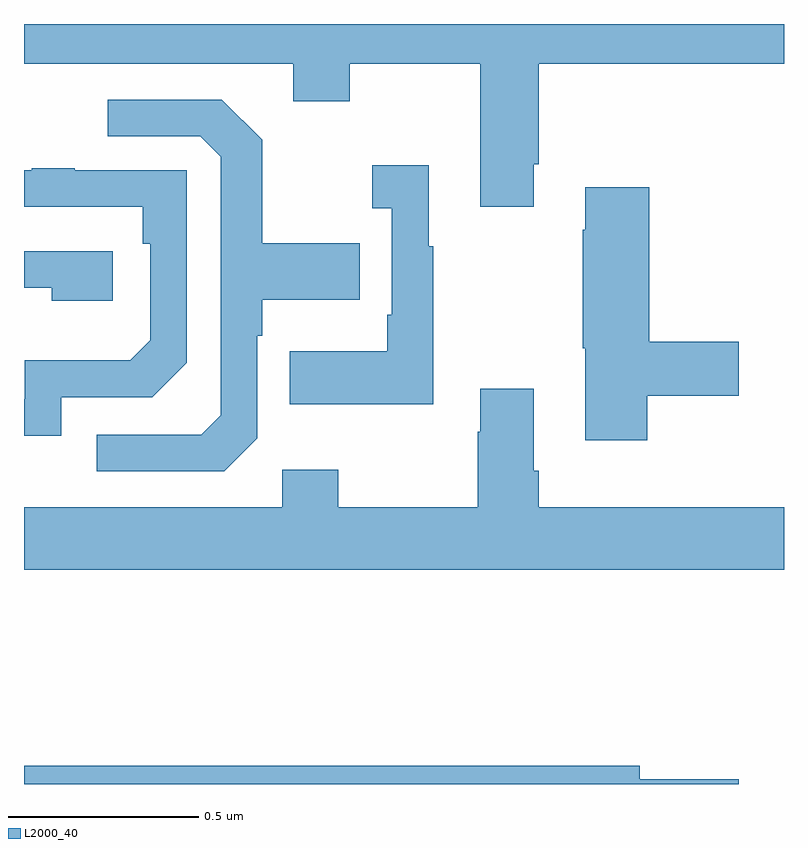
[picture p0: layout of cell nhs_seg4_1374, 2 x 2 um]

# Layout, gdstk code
import gdstk
lib = gdstk.Library(unit=1e-6, precision=1e-09)
def P(c, l, *ps):  # polygons
    for p in ps: c.add(gdstk.Polygon(p, *l))
L2000_40 = (2000, 40)

nhs_seg4_1374 = lib.new_cell('nhs_seg4_1374')
P(nhs_seg4_1374, L2000_40, [(128.341,820.531),(128.354,820.531),(128.354,820.796),(129,820.796),(129,820.9),(127,820.9),(127,820.796),(127.709,820.796),(127.709,820.697),(127.857,820.697),(127.857,820.796),(128.201,820.796),(128.201,820.419),(128.341,820.419)],
  [(127.614,819.81),(127.614,820.079),(127.627,820.079),(127.627,820.175),(127.883,820.175),(127.883,820.323),(127.627,820.323),(127.627,820.595),(127.521,820.701),(127.221,820.701),(127.221,820.605),(127.464,820.605),(127.518,820.551),(127.518,819.87),(127.467,819.819),(127.191,819.819),(127.191,819.723),(127.527,819.723)],
  [(128.077,820.315),(128.065,820.315),(128.065,820.528),(127.917,820.528),(127.917,820.415),(127.968,820.415),(127.968,820.135),(127.956,820.135),(127.956,820.039),(127.699,820.039),(127.699,819.899),(128.077,819.899)],
  [(127.098,819.918),(127.338,819.918),(127.428,820.008),(127.428,820.515),(127.133,820.515),(127.133,820.52),(127.021,820.52),(127.021,820.515),(127,820.515),(127,820.419),(127.312,820.419),(127.312,820.322),(127.332,820.322),(127.332,820.068),(127.279,820.015),(127.002,820.015),(127.002,819.912),(127,819.912),(127,819.816),(127.098,819.816)],
  [(128.64,819.922),(128.881,819.922),(128.881,820.064),(128.645,820.064),(128.645,820.471),(128.477,820.471),(128.477,820.358),(128.47,820.358),(128.47,820.047),(128.477,820.047),(128.477,819.804),(128.64,819.804)],
  [(127.234,820.302),(127,820.302),(127,820.206),(127.073,820.206),(127.073,820.172),(127.234,820.172)],
  [(129,819.628),(128.354,819.628),(128.354,819.724),(128.341,819.724),(128.341,819.94),(128.201,819.94),(128.201,819.827),(128.194,819.827),(128.194,819.628),(127.827,819.628),(127.827,819.727),(127.68,819.727),(127.68,819.628),(127,819.628),(127,819.464),(129,819.464)],
  [(128.881,818.912),(128.62,818.912),(128.62,818.948),(127,818.948),(127,818.9),(128.881,818.9)])

lib.write_gds('nhs_seg4_1374.gds')
